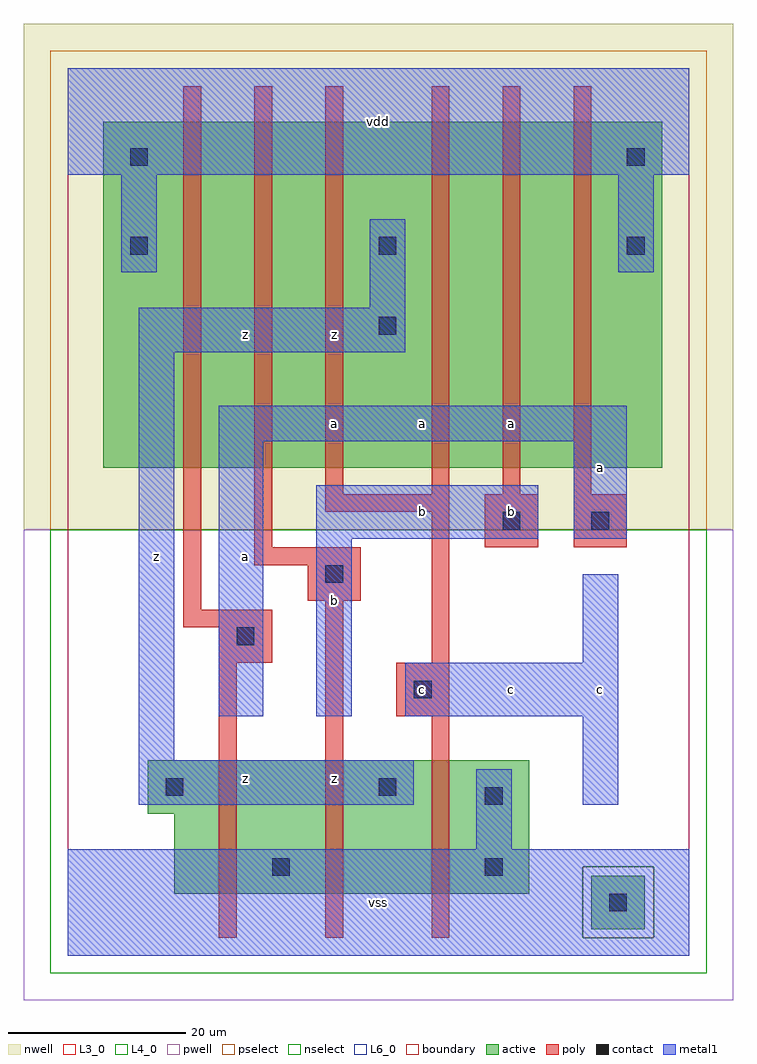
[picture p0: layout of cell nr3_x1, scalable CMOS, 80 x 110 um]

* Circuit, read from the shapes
.subckt nr3_x1 a b c vdd vss z
M1 vss a z vss nfet w=15u l=2u
M2 z b vss vss nfet w=15u l=2u
M3 vss c z vss nfet w=15u l=2u
M4 n1 a vdd n2 pfet w=39u l=2u
M5 n3 b n1 n2 pfet w=39u l=2u
M6 z c n3 n2 pfet w=39u l=2u
M7 n4 c z n2 pfet w=39u l=2u
M8 n5 b n4 n2 pfet w=39u l=2u
M9 vdd a n5 n2 pfet w=39u l=2u
.ends

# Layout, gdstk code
import gdstk
lib = gdstk.Library(unit=1e-6, precision=1e-09)
def R(c, l, rs):  # rectangles x0, y0, x1, y1
    for r in rs: c.add(gdstk.rectangle(r[:2], r[2:], *l))
def A(c, l, x, y, w, h, nx, ny, dx, dy):  # array of equal rectangles
    R(c, l, [(x+i*dx, y+j*dy, x+i*dx+w, y+j*dy+h) for i in range(nx) for j in range(ny)])
L3_0 = (3, 0)
L4_0 = (4, 0)
L6_0 = (6, 0)
contact = (25, 0)
pwell = (41, 0)
nwell = (42, 0)
active = (43, 0)
pselect = (44, 0)
nselect = (45, 0)
poly = (46, 0)
metal1 = (49, 0)
boundary = (63, 0)

nr3_x1 = lib.new_cell('nr3_x1')
R(nr3_x1, L3_0, [(12,7,52,16), (9,16,52,22)])
R(nr3_x1, L4_0, [(4,55,67,94)])
R(nr3_x1, L6_0, [(59,3,65,9)])
A(nr3_x1, contact, 7, 79, 2, 2, 3, 1, 28, 0)
R(nr3_x1, contact, [(61,5,63,7), (23,9,25,11), (47,9,49,11), (47,17,49,19), (11,18,13,20), (35,18,37,20), (39,29,41,31), (19,35,21,37), (29,42,31,44), (49,48,51,50), (59,48,61,50), (35,70,37,72), (7,89,9,91), (63,89,65,91)])
R(nr3_x1, pwell, [(-5,-5,75,48)])
R(nr3_x1, nwell, [(-5,48,75,105)])
R(nr3_x1, active, [(59,3,65,9), (12,7,52,16), (9,16,52,22), (4,55,67,94)])
R(nr3_x1, pselect, [(58,2,66,10), (-2,48,72,102)])
R(nr3_x1, nselect, [(-2,-2,72,2), (-2,2,58,10), (66,2,72,10), (-2,10,72,48)])
A(nr3_x1, poly, 41, 52, 2, 46, 3, 1, 8, 0)
R(nr3_x1, poly, [(17,2,19,33), (29,2,31,40), (41,2,43,27), (37,27,43,33), (17,33,23,37), (41,33,43,50), (13,37,23,39), (13,39,15,98), (27,40,33,44), (21,44,33,46), (21,46,23,98), (47,46,53,52), (57,46,63,52), (29,50,43,52), (29,52,31,98)])
R(nr3_x1, metal1, [(0,0,70,12), (46,12,50,21), (8,17,39,22), (58,17,62,27), (8,22,12,68), (17,27,22,58), (28,27,32,47), (38,27,62,33), (58,33,62,43), (28,47,53,53), (57,47,63,58), (17,58,63,62), (8,68,38,73), (34,73,38,83), (6,77,10,88), (62,77,66,88), (0,88,70,100)])
R(nr3_x1, boundary, [(0,0,70,100)])
nr3_x1.add(gdstk.Label('z', (10,45), layer=49, texttype=0))
nr3_x1.add(gdstk.Label('z', (20,20), layer=49, texttype=0))
nr3_x1.add(gdstk.Label('z', (30,20), layer=49, texttype=0))
nr3_x1.add(gdstk.Label('a', (20,45), layer=49, texttype=0))
nr3_x1.add(gdstk.Label('b', (30,40), layer=49, texttype=0))
nr3_x1.add(gdstk.Label('z', (20,70), layer=49, texttype=0))
nr3_x1.add(gdstk.Label('z', (30,70), layer=49, texttype=0))
nr3_x1.add(gdstk.Label('a', (30,60), layer=49, texttype=0))
nr3_x1.add(gdstk.Label('vss', (35,6), layer=49, texttype=0))
nr3_x1.add(gdstk.Label('c', (50,30), layer=49, texttype=0))
nr3_x1.add(gdstk.Label('c', (40,30), layer=49, texttype=0))
nr3_x1.add(gdstk.Label('b', (40,50), layer=49, texttype=0))
nr3_x1.add(gdstk.Label('b', (50,50), layer=49, texttype=0))
nr3_x1.add(gdstk.Label('a', (40,60), layer=49, texttype=0))
nr3_x1.add(gdstk.Label('a', (50,60), layer=49, texttype=0))
nr3_x1.add(gdstk.Label('vdd', (35,94), layer=49, texttype=0))
nr3_x1.add(gdstk.Label('c', (60,30), layer=49, texttype=0))
nr3_x1.add(gdstk.Label('a', (60,55), layer=49, texttype=0))

lib.write_gds('nr3_x1.gds')
